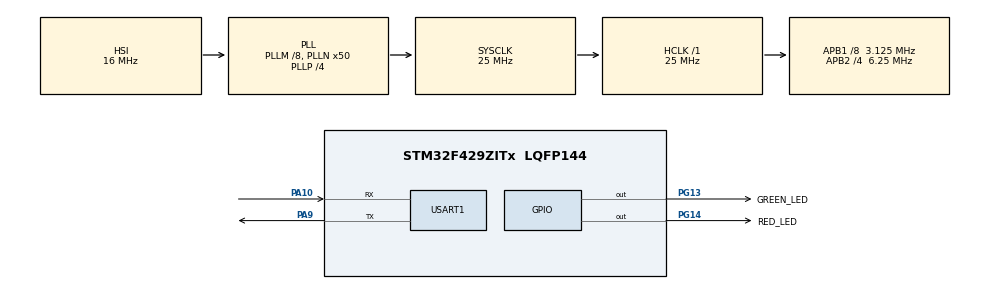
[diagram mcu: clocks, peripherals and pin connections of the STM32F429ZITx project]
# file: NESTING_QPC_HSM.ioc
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Mcu.Family=STM32F4
Mcu.Name=STM32F429ZITx
Mcu.Package=LQFP144
NVIC.PriorityGroup=NVIC_PRIORITYGROUP_0
NVIC.USART1_IRQn=true\:0\:0\:false\:false\:true\:true\:true\:true
PA10.Mode=Asynchronous
PA10.Signal=USART1_RX
PA9.Mode=Asynchronous
PA9.Signal=USART1_TX
PG13.GPIO_Label=GREEN_LED
PG13.Signal=GPIO_Output
PG14.GPIO_Label=RED_LED
PG14.Signal=GPIO_Output
ProjectManager.HeapSize=0x200
ProjectManager.StackSize=0x400
ProjectManager.TargetToolchain=STM32CubeIDE
RCC.48MHZClocksFreq_Value=14285714.285714285
RCC.AHBFreq_Value=25000000
RCC.APB1CLKDivider=RCC_HCLK_DIV8
RCC.APB1Freq_Value=3125000
RCC.APB1TimFreq_Value=6250000
RCC.APB2CLKDivider=RCC_HCLK_DIV4
RCC.APB2Freq_Value=6250000
RCC.APB2TimFreq_Value=12500000
RCC.CortexFreq_Value=25000000
RCC.HCLKFreq_Value=25000000
RCC.HSE_VALUE=8000000
RCC.HSI_VALUE=16000000
RCC.LSE_VALUE=32768
RCC.PLLM=8
RCC.PLLN=50
RCC.PLLP=RCC_PLLP_DIV4
RCC.PLLQ=7
RCC.SYSCLKFreq_VALUE=25000000
RCC.SYSCLKSource=RCC_SYSCLKSOURCE_PLLCLK
RCC.VCOOutputFreq_Value=100000000
USART1.VirtualMode=VM_ASYNC
board=STM32F429I-DISC1

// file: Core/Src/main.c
/* USER CODE BEGIN Header */
/**
  ******************************************************************************
  * @file           : main.c
  * @brief          : Main program body
  ******************************************************************************
  * @attention
  *
  * Copyright (c) 2022 STMicroelectronics.
  * All rights reserved.
  *
  * This software is licensed under terms that can be found in the LICENSE file
  * in the root directory of this software component.
  * If no LICENSE file comes with this software, it is provided AS-IS.
  *
  ******************************************************************************
  */
/* USER CODE END Header */
#include "main.h"
#include "stdio.h"
/* USER CODE BEGIN Includes */
#include "qhsmtst.h"
#include "bsp.h"
#include "qpc.h"
/* USER CODE END Includes */

/* USER CODE BEGIN PTD */
Q_DEFINE_THIS_FILE
/* USER CODE END PTD */

UART_HandleTypeDef huart1;

/* USER CODE BEGIN PV */
char Signal,Buffer[5];
QEvt e;
/* USER CODE END PV */

void SystemClock_Config(void);
static void MX_GPIO_Init(void);
static void MX_USART1_UART_Init(void);

int main(void)
{

  /* MCU Configuration--------------------------------------------------------*/

  /* Reset of all peripherals, Initializes the Flash interface and the Systick. */
  HAL_Init();

  /* Configure the system clock */
  SystemClock_Config();

  /* Initialize all configured peripherals */
  MX_GPIO_Init();
  MX_USART1_UART_Init();
  /* USER CODE BEGIN 2 */

  QF_init();  /* initialize the framework and the underlying RT kernel */
  BSP_init(); /* initialize the Board Support Package */
  QHsmTst_ctor();	/* instantiate the QHsmTst object */
  QHSM_INIT(the_sm, (void *)0, 0U); /* the top-most initial tran. */
  /* USER CODE END 2 */

  /* Infinite loop */
  while (1)
  {

    /* USER CODE BEGIN 3 */
//	  HAL_UART_Receive(&huart1, (uint8_t*)&Signal, sizeof(signal),10);
//	  HAL_UART_Transmit(&huart1, (const uint8_t*)"\n", sizeof("\n"), 10);

	  if(HAL_UART_Receive(&huart1, (uint8_t*)&Signal, sizeof(Signal),10) == HAL_OK)
	  {
		  sprintf(Buffer,"%c:",((Signal >= ' ') ? Signal : 'X'));

		  HAL_UART_Transmit(&huart1, (const uint8_t*)&Buffer, sizeof(Buffer), 10);

		  if ('a' <= Signal && Signal <= 'i') { /* in range? */
			  e.sig = (QSignal)(Signal - 'a' + A_SIG);
		  }
		  else if ('A' <= Signal && Signal <= 'I') { /* in range? */
			  e.sig = (QSignal)(Signal - 'A' + A_SIG);
		  }
		  else if (Signal == '\33') { /* the ESC key? */
			  e.sig = TERMINATE_SIG; /* terminate the interactive test */
		  }
		  else {
			  e.sig = IGNORE_SIG;
		  }

		  QHSM_DISPATCH(the_sm, &e, 0U); /* dispatch the event */
	  }
  }
  /* USER CODE END 3 */
}

void SystemClock_Config(void)
{
  RCC_OscInitTypeDef RCC_OscInitStruct = {0};
  RCC_ClkInitTypeDef RCC_ClkInitStruct = {0};

  /** Configure the main internal regulator output voltage
  */
  __HAL_RCC_PWR_CLK_ENABLE();
  __HAL_PWR_VOLTAGESCALING_CONFIG(PWR_REGULATOR_VOLTAGE_SCALE3);

  /** Initializes the RCC Oscillators according to the specified parameters
  * in the RCC_OscInitTypeDef structure.
  */
  RCC_OscInitStruct.OscillatorType = RCC_OSCILLATORTYPE_HSI;
  RCC_OscInitStruct.HSIState = RCC_HSI_ON;
  RCC_OscInitStruct.HSICalibrationValue = RCC_HSICALIBRATION_DEFAULT;
  RCC_OscInitStruct.PLL.PLLState = RCC_PLL_ON;
  RCC_OscInitStruct.PLL.PLLSource = RCC_PLLSOURCE_HSI;
  RCC_OscInitStruct.PLL.PLLM = 8;
  RCC_OscInitStruct.PLL.PLLN = 50;
  RCC_OscInitStruct.PLL.PLLP = RCC_PLLP_DIV4;
  RCC_OscInitStruct.PLL.PLLQ = 7;
  if (HAL_RCC_OscConfig(&RCC_OscInitStruct) != HAL_OK)
  {
    Error_Handler();
  }

  /** Initializes the CPU, AHB and APB buses clocks
  */
  RCC_ClkInitStruct.ClockType = RCC_CLOCKTYPE_HCLK|RCC_CLOCKTYPE_SYSCLK
                              |RCC_CLOCKTYPE_PCLK1|RCC_CLOCKTYPE_PCLK2;
  RCC_ClkInitStruct.SYSCLKSource = RCC_SYSCLKSOURCE_PLLCLK;
  RCC_ClkInitStruct.AHBCLKDivider = RCC_SYSCLK_DIV1;
  RCC_ClkInitStruct.APB1CLKDivider = RCC_HCLK_DIV8;
  RCC_ClkInitStruct.APB2CLKDivider = RCC_HCLK_DIV4;

  if (HAL_RCC_ClockConfig(&RCC_ClkInitStruct, FLASH_LATENCY_0) != HAL_OK)
  {
    Error_Handler();
  }
}

static void MX_USART1_UART_Init(void)
{

  huart1.Instance = USART1;
  huart1.Init.BaudRate = 115200;
  huart1.Init.WordLength = UART_WORDLENGTH_8B;
  huart1.Init.StopBits = UART_STOPBITS_1;
  huart1.Init.Parity = UART_PARITY_NONE;
  huart1.Init.Mode = UART_MODE_TX_RX;
  huart1.Init.HwFlowCtl = UART_HWCONTROL_NONE;
  huart1.Init.OverSampling = UART_OVERSAMPLING_16;
  if (HAL_UART_Init(&huart1) != HAL_OK)
  {
    Error_Handler();
  }

}

static void MX_GPIO_Init(void)
{
  GPIO_InitTypeDef GPIO_InitStruct = {0};

  /* GPIO Ports Clock Enable */
  __HAL_RCC_GPIOA_CLK_ENABLE();
  __HAL_RCC_GPIOG_CLK_ENABLE();

  /*Configure GPIO pin Output Level */
  HAL_GPIO_WritePin(GPIOG, GREEN_LED_Pin|RED_LED_Pin, GPIO_PIN_RESET);

  /*Configure GPIO pins : GREEN_LED_Pin RED_LED_Pin */
  GPIO_InitStruct.Pin = GREEN_LED_Pin|RED_LED_Pin;
  GPIO_InitStruct.Mode = GPIO_MODE_OUTPUT_PP;
  GPIO_InitStruct.Pull = GPIO_NOPULL;
  GPIO_InitStruct.Speed = GPIO_SPEED_FREQ_LOW;
  HAL_GPIO_Init(GPIOG, &GPIO_InitStruct);

}

/* USER CODE BEGIN 4 */
//void HAL_UART_RxCpltCallback(UART_HandleTypeDef *huart)
//{
//	if(huart == &huart1)
//	{
////        PRINTF_S("%c: ", (Signal >= ' ') ? Signal : 'X');
//
//
//	}
//}
/* USER CODE END 4 */

void Error_Handler(void)
{
  __disable_irq();
  while (1)
  {
  }
}
